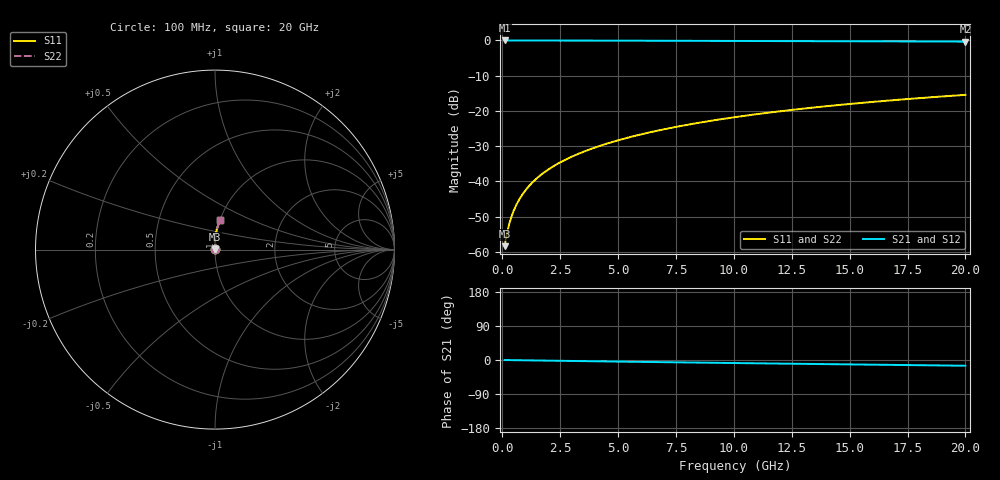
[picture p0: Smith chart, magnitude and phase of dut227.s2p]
! Touchstone file exported from HFSS 2024.1.0
!  File:  C:/UserFiles/LocalFiles/RDL_TSV_Batchsim/temp_RDL_top_227_1778687986.aedt
!  Generated:  12:02:05 AM May 14, 2026
!  Design:  RDL_top
!  Project:  temp_RDL_top_227_1778687986
!  Setup:  Setup1
!  Solution:  Sweep
! Variables:
!  dtsv = 10.80580581um
!  hbump = 3um
!  htsv = 57.12um
!  ldown = 100um
!  lrdl = 184.39um
!  p = 40
!  p1 = 50.41um
!  rhole = 1um
!  t = 450um
!  tdown = 3.915915916um
!  trdl = 4.12um
!  wdown = 15.38538539um
!  wrdl = 22.15um
# GHz S MA R 50.000000
! Terminal data exported
! Port[1] = Box2_T1
! Port[2] = Box2_T2
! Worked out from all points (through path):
!   200 points, 100 MHz to 20 GHz, reference 50 ohm
!   highest |S21| = -0.01 dB at 100 MHz (marker M1); lowest = -0.3 dB at 20 GHz (marker M2)
!   group delay of S21, straight-line fit = 2.08 ps
!   lowest |S11| = -58.4 dB at 100 MHz (marker M3), VSWR 1.00, Z = 50.1 + j0.08 ohm
!   |S11| at or under -10 dB: start of sweep to end of sweep
!   |S22| runs from -58.4 to -15.4 dB; largest |S21 - S12| = 6.4e-15
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0.1  0.001206 41.5  0.9991 -0.1  0.9991 -0.1  0.001206 41.5
! Gamma 0 0 0 0
! Port Impedance 50 0 50 0
0.2  0.001828 58.8  0.999 -0.2  0.999 -0.2  0.001828 58.8
0.3  0.002503 66.9  0.999 -0.3  0.999 -0.3  0.002503 66.9
0.4  0.003192 71.6  0.9989 -0.4  0.9989 -0.4  0.003192 71.6
0.5  0.003891 74.8  0.9989 -0.4  0.9989 -0.4  0.003891 74.8
0.6  0.004598 77.1  0.9988 -0.5  0.9988 -0.5  0.004598 77.1
0.8  0.006028 80.3  0.9987 -0.7  0.9987 -0.7  0.006028 80.3
1.1  0.008202 83.0  0.9985 -1.0  0.9985 -1.0  0.008202 83.0
1.5  0.01113 85.1  0.9982 -1.3  0.9982 -1.3  0.01113 85.1
1.8  0.01335 86.1  0.998 -1.6  0.998 -1.6  0.01335 86.1
2.1  0.01559 86.9  0.9976 -1.8  0.9976 -1.8  0.01559 86.9
2.7  0.02012 88.0  0.9969 -2.3  0.9969 -2.3  0.02012 88.0
3.5  0.02629 88.8  0.9957 -3.0  0.9957 -3.0  0.02629 88.8
4.2  0.03181 89.3  0.9944 -3.6  0.9944 -3.6  0.03181 89.3
5  0.03827 89.5  0.9929 -4.2  0.9929 -4.2  0.03827 89.5
5.9  0.04571 89.5  0.9911 -4.9  0.9911 -4.9  0.04571 89.5
6.8  0.0533 89.4  0.9892 -5.6  0.9892 -5.6  0.0533 89.4
8.4  0.06711 88.7  0.9859 -6.9  0.9859 -6.9  0.06711 88.7
10.1  0.08206 87.6  0.9824 -8.1  0.9824 -8.1  0.08206 87.6
13.4  0.1113 85.1  0.9759 -10.5  0.9759 -10.5  0.1113 85.1
16.7  0.1404 82.3  0.9695 -12.8  0.9695 -12.8  0.1404 82.3
20  0.169 79.6  0.9629 -15.1  0.9629 -15.1  0.169 79.6
